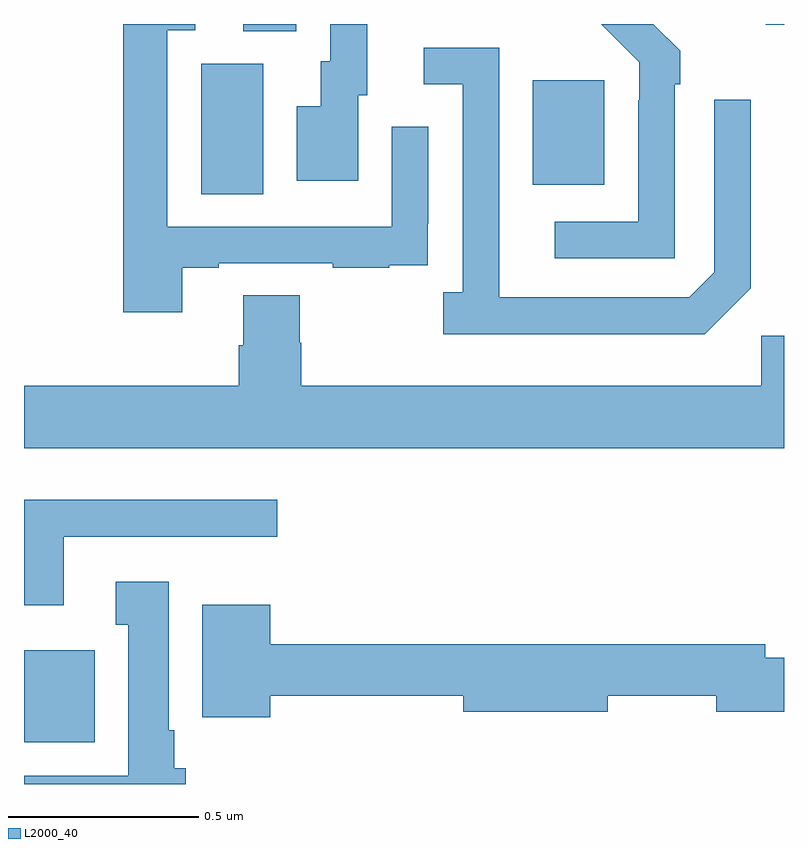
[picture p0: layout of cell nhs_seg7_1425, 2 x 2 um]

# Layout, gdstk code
import gdstk
lib = gdstk.Library(unit=1e-6, precision=1e-09)
def R(c, l, rs):  # rectangles x0, y0, x1, y1
    for r in rs: c.add(gdstk.rectangle(r[:2], r[2:], *l))
def P(c, l, *ps):  # polygons
    for p in ps: c.add(gdstk.Polygon(p, *l))
L2000_40 = (2000, 40)

nhs_seg7_1425 = lib.new_cell('nhs_seg7_1425')
R(nhs_seg7_1425, L2000_40, [(130,1065.11,130.186,1065.352), (130.466,1066.552,130.63,1066.896), (131.339,1066.577,131.527,1066.852), (130.577,1066.981,130.717,1067), (131.952,1066.998,132,1067)])
P(nhs_seg7_1425, L2000_40, [(130.417,1066.359),(130.513,1066.359),(130.513,1066.371),(130.813,1066.371),(130.813,1066.359),(130.961,1066.359),(130.961,1066.365),(131.063,1066.365),(131.063,1066.474),(131.064,1066.474),(131.064,1066.729),(130.968,1066.729),(130.968,1066.467),(130.377,1066.467),(130.377,1066.983),(130.45,1066.983),(130.45,1067),(130.261,1067),(130.261,1066.242),(130.417,1066.242)],
  [(130.879,1066.812),(130.903,1066.812),(130.903,1067),(130.806,1067),(130.806,1066.902),(130.781,1066.902),(130.781,1066.783),(130.718,1066.783),(130.718,1066.587),(130.879,1066.587)],
  [(131.712,1066.841),(131.727,1066.841),(131.727,1066.929),(131.656,1067),(131.519,1067),(131.619,1066.899),(131.619,1066.799),(131.616,1066.799),(131.616,1066.479),(131.397,1066.479),(131.397,1066.383),(131.712,1066.383)],
  [(131.913,1066.305),(131.913,1066.801),(131.817,1066.801),(131.817,1066.347),(131.751,1066.281),(131.251,1066.281),(131.251,1066.481),(131.25,1066.481),(131.25,1066.938),(131.052,1066.938),(131.052,1066.842),(131.154,1066.842),(131.154,1066.294),(131.103,1066.294),(131.103,1066.184),(131.792,1066.184)],
  [(132,1066.18),(131.94,1066.18),(131.94,1066.048),(130.73,1066.048),(130.73,1066.161),(130.725,1066.161),(130.725,1066.286),(130.577,1066.286),(130.577,1066.154),(130.565,1066.154),(130.565,1066.048),(130,1066.048),(130,1065.884),(132,1065.884)],
  [(130.105,1065.651),(130.666,1065.651),(130.666,1065.748),(130,1065.748),(130,1065.47),(130.105,1065.47)],
  [(130.426,1065.042),(130.396,1065.042),(130.396,1065.142),(130.381,1065.142),(130.381,1065.532),(130.241,1065.532),(130.241,1065.419),(130.274,1065.419),(130.274,1065.022),(130,1065.022),(130,1065),(130.426,1065)],
  [(130.648,1065.232),(131.156,1065.232),(131.156,1065.19),(131.536,1065.19),(131.536,1065.232),(131.822,1065.232),(131.822,1065.19),(132,1065.19),(132,1065.332),(131.95,1065.332),(131.95,1065.368),(130.648,1065.368),(130.648,1065.472),(130.469,1065.472),(130.469,1065.176),(130.648,1065.176)])

lib.write_gds('nhs_seg7_1425.gds')
